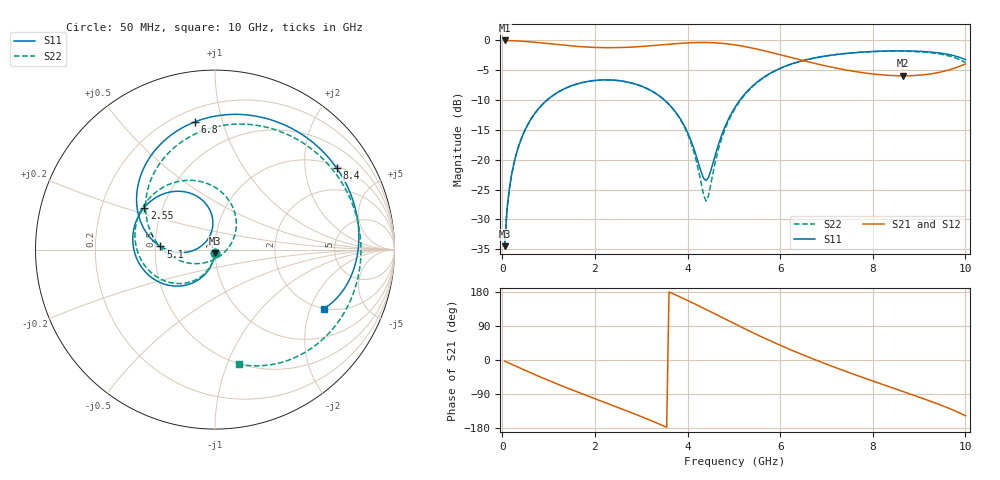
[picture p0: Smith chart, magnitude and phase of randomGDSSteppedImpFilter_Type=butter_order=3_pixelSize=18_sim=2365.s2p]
! freq	dB(S11)	phase(S11)	dB(S12)	phase(S12)
!  dB(S21)	phase(S21)	dB(S22)	phase(S22)
!S-par simulation data
#  GHz  S  DB  R 50
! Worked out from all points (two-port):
!   200 points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, 50 MHz to 10 GHz, reference 50 ohm
!   highest |S21| = -0.01 dB at 50 MHz (marker M1); lowest = -5.9 dB at 8.65 GHz (marker M2)
!   |S21| within 3 dB of the highest: start of sweep to 6.306 GHz
!   lowest |S11| = -34.5 dB at 50 MHz (marker M3), VSWR 1.04, Z = 49.8 - j1.88 ohm
!   |S11| at or under -10 dB: start of sweep to 967.2 MHz; 3.504 GHz to 5.131 GHz (1.627 GHz wide, 37.7 % of centre)
!   |S22| runs from -34.4 to -1.8 dB; largest |S21 - S12| = 0
!   S11 on the Smith chart (normalised r, x): 50 MHz: 1.00, -0.04; 2.55 GHz: 0.40, +0.23; 5.1 GHz: 0.53, +0.02; 6.8 GHz: 0.28, +0.82; 8.4 GHz: 1.08, +2.94; 10 GHz: 1.99, -2.49
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0.05  -34.49 -94.2  -0.01 -2.8  -0.01 -2.8  -34.42 -94.0
0.1  -28.52 -96.2  -0.02 -5.6  -0.02 -5.6  -28.50 -96.6
0.2  -22.55 -101.2  -0.04 -11.2  -0.04 -11.2  -22.55 -102.1
0.5  -14.88 -116.9  -0.18 -27.7  -0.18 -27.7  -14.88 -119.2
1.1  -9.19 -146.9  -0.63 -59.0  -0.63 -59.0  -9.20 -152.1
1.75  -7.02 -176.5  -1.08 -90.4  -1.08 -90.4  -7.03 174.7
2.55  -6.77 149.2  -1.20 -127.6  -1.20 -127.6  -6.78 134.8
3.4  -9.35 113.3  -0.77 -169.6  -0.77 -169.6  -9.37 88.1
4  -15.42 94.5  -0.41 157.2  -0.41 157.2  -15.67 44.6
4.4  -23.49 140.9  -0.35 133.4  -0.35 133.4  -26.91 -53.8
4.75  -15.60 -174.6  -0.49 111.9  -0.49 111.9  -16.15 -150.5
5.05  -10.90 178.6  -0.78 93.6  -0.78 93.6  -11.11 -177.4
5.1  -10.33 176.7  -0.84 90.5  -0.84 90.5  -10.52 178.8
5.9  -5.03 139.9  -2.20 44.4  -2.20 44.4  -5.08 125.9
6.7  -3.00 103.4  -3.77 3.4  -3.77 3.4  -3.02 81.4
6.8  -2.85 99.0  -3.95 -1.5  -3.95 -1.5  -2.86 76.3
7.55  -2.09 67.5  -5.13 -35.9  -5.13 -35.9  -2.09 39.8
8.35  -1.77 35.7  -5.86 -70.4  -5.86 -70.4  -1.80 3.9
8.4  -1.76 33.7  -5.88 -72.5  -5.88 -72.5  -1.80 1.7
8.65  -1.76 24.1  -5.93 -83.1  -5.93 -83.1  -1.81 -9.3
9.35  -2.02 -2.9  -5.49 -113.5  -5.49 -113.5  -2.17 -41.0
10  -3.23 -28.5  -3.94 -147.1  -3.94 -147.1  -3.73 -78.4
